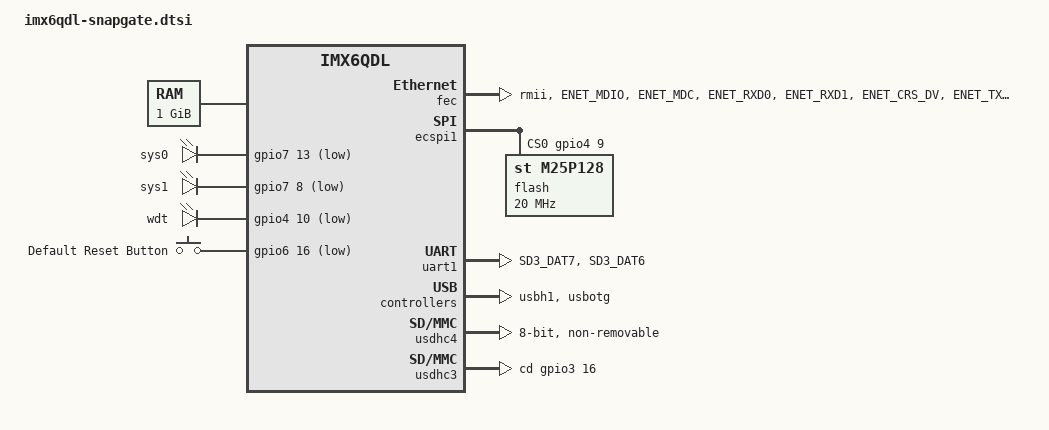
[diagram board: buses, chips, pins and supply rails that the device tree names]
/ {
	memory {
		reg = <0x10000000 0x40000000>;
	};
	
	leds {
		compatible = "gpio-leds";

		debug-led {
			label = "sys0";
			gpios = <&gpio7 13 1>;
			linux,default-trigger = "mmc0";
		};

		debug2-led {
			label = "sys1";
			gpios = <&gpio7 8 1>;
			linux,default-trigger = "heartbeat";
		};

		wdt-led {
			label = "wdt";
			gpios = <&gpio4 10 1>;
			linux,default-trigger = "heartbeat";
		};
	};

	gpio-keys {
		compatible = "gpio-keys";
		def_reset {
			label = "Default Reset Button";
			gpios = <&gpio6 16 1>;
			linux,code = <116>; /* KEY_POWER */
			gpio-key,wakeup;
		};
	};

};

&iomuxc {
	pinctrl-names = "default";
	pinctrl-0 = <&pinctrl_hog_1>;

	hog {
		pinctrl_hog_1: hoggrp-1 {
			fsl,pins = <
				MX6QDL_PAD_EIM_D16__GPIO3_IO16 		0X80000000 	/* SD3 CD */
				MX6QDL_PAD_GPIO_18__GPIO7_IO13 		0X80000000  	/* SYS LED D15 */
				MX6QDL_PAD_SD3_RST__GPIO7_IO08 		0X80000000 	/* SYS LED D17 */
				MX6QDL_PAD_KEY_COL2__GPIO4_IO10 	0X80000000 	/* wdt */
				MX6QDL_PAD_NANDF_CS2__GPIO6_IO15 	0X80000000 	/* lan8720 reset */
				MX6QDL_PAD_NANDF_CS1__GPIO6_IO14	0X80000000	/* lan8720 int */
				MX6QDL_PAD_KEY_ROW1__GPIO4_IO09	 	0X80000000 	/* m25p128 spi cs */
				MX6QDL_PAD_NANDF_CS3__GPIO6_IO16	0X80000000 	/* default reset gpio key */
			>;
		};
	};

	enet {
		pinctrl_enet_4: enetgrp-4 {
			fsl,pins = <
				MX6QDL_PAD_ENET_MDIO__ENET_MDIO       	0x1b0b0
				MX6QDL_PAD_ENET_MDC__ENET_MDC         	0x1b0b0
				MX6QDL_PAD_ENET_RXD0__ENET_RX_DATA0	0x1b0b0
				MX6QDL_PAD_ENET_RXD1__ENET_RX_DATA1	0x1b0b0
				MX6QDL_PAD_ENET_CRS_DV__ENET_RX_EN	0x1b0b0
				MX6QDL_PAD_ENET_TXD0__ENET_TX_DATA0	0x1b0b0
				MX6QDL_PAD_ENET_TXD1__ENET_TX_DATA1	0x1b0b0
				MX6QDL_PAD_ENET_TX_EN__ENET_TX_EN	0x1b0b0
				MX6QDL_PAD_ENET_RX_ER__ENET_RX_ER	0x1b0b0
				MX6QDL_PAD_GPIO_16__ENET_REF_CLK      	0x4001b0a8
			>;
		};

	};

	uart1 {
		pinctrl_uart1_2: uart1grp-1 {
			fsl,pins = <
				MX6QDL_PAD_SD3_DAT7__UART1_TX_DATA 0x1b0b1
				MX6QDL_PAD_SD3_DAT6__UART1_RX_DATA 0x1b0b1
			>;
		};
	};
};

&fec {
	pinctrl-names = "default";
	pinctrl-0 = <&pinctrl_enet_4>;
	phy-mode = "rmii";
	phy-reset-gpios = <&gpio6 15 0>;
	phy-reset-duration = <1>;
	#phy-int-gpios = <&gpio6 14 0>;
	status = "okay";
};

&ecspi1 {
	fsl,spi-num-chipselects = <1>;
	cs-gpios = <&gpio4 9 0>;
	pinctrl-names = "default";
	pinctrl-0 = <&pinctrl_ecspi1_2>;
	status = "okay";

	flash: m25p128@0 {
		#address-cells = <1>;
		#size-cells = <1>;
		compatible = "st,m25p128";
		spi-max-frequency = <20000000>;
		reg = <0>;
	};
};

&uart1 {
	pinctrl-names = "default";
	pinctrl-0 = <&pinctrl_uart1_2>;
	status = "okay";
};

&usbh1 {
	status = "okay";
};

&usbotg {
	pinctrl-names = "default";
	pinctrl-0 = <&pinctrl_usbotg_1>;
	status = "okay";
};

&usdhc4 {
        pinctrl-names = "default";
        pinctrl-0 = <&pinctrl_usdhc4_1>;
        bus-width = <8>;
        non-removable;
        status = "okay";
};

&usdhc3 {
	pinctrl-names = "default";
	pinctrl-0 = <&pinctrl_usdhc3_2>;
	cd-gpios = <&gpio3 16 0>;
	status = "okay";
};


